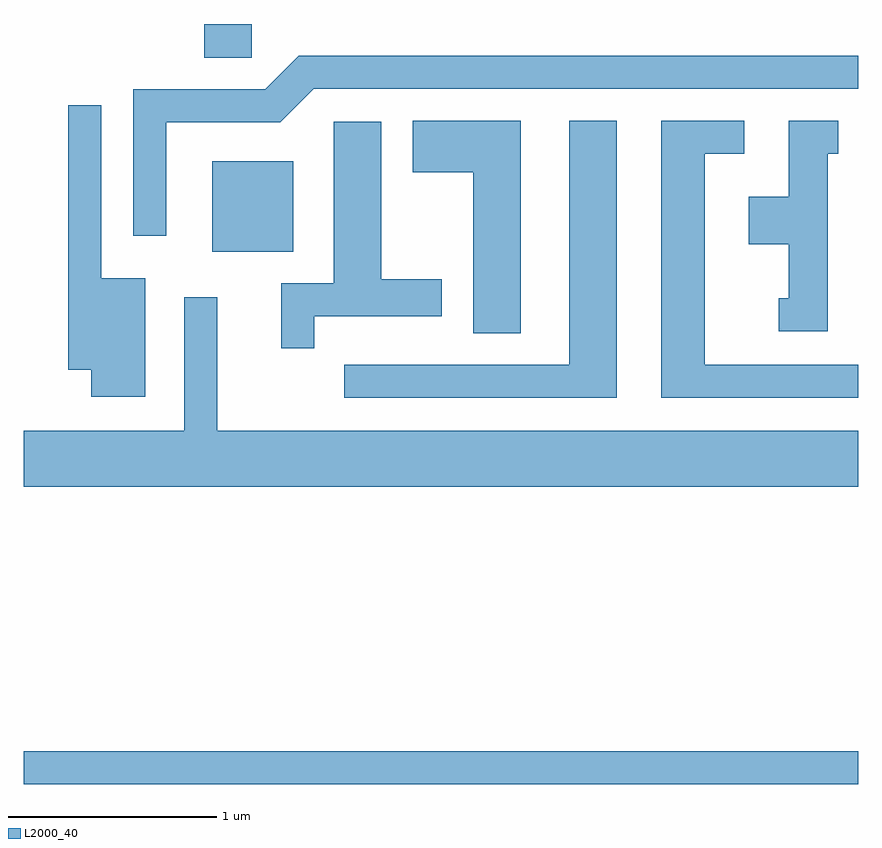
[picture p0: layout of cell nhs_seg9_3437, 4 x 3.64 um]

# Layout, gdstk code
import gdstk
lib = gdstk.Library(unit=1e-6, precision=1e-09)
def R(c, l, rs):  # rectangles x0, y0, x1, y1
    for r in rs: c.add(gdstk.rectangle(r[:2], r[2:], *l))
def P(c, l, *ps):  # polygons
    for p in ps: c.add(gdstk.Polygon(p, *l))
L2000_40 = (2000, 40)

nhs_seg9_3437 = lib.new_cell('nhs_seg9_3437')
R(nhs_seg9_3437, L2000_40, [(285.611,2034.791,289.611,2034.949), (286.516,2037.341,286.904,2037.774), (286.476,2038.271,286.704,2038.432)])
P(nhs_seg9_3437, L2000_40, [(286.294,2037.961),(286.842,2037.961),(287.002,2038.121),(289.611,2038.121),(289.611,2038.279),(286.929,2038.279),(286.769,2038.119),(286.136,2038.119),(286.136,2037.418),(286.294,2037.418)],
  [(286.194,2037.214),(285.984,2037.214),(285.984,2038.043),(285.826,2038.043),(285.826,2036.776),(285.936,2036.776),(285.936,2036.646),(286.194,2036.646)],
  [(287.994,2037.969),(287.476,2037.969),(287.476,2037.721),(287.766,2037.721),(287.766,2036.951),(287.994,2036.951)],
  [(289.611,2036.799),(288.874,2036.799),(288.874,2037.811),(289.063,2037.811),(289.063,2037.969),(288.666,2037.969),(288.666,2036.641),(289.611,2036.641)],
  [(289.464,2037.811),(289.513,2037.811),(289.513,2037.969),(289.276,2037.969),(289.276,2037.604),(289.086,2037.604),(289.086,2037.376),(289.276,2037.376),(289.276,2037.119),(289.228,2037.119),(289.228,2036.961),(289.464,2036.961)],
  [(288.454,2037.969),(288.226,2037.969),(288.226,2036.799),(287.148,2036.799),(287.148,2036.641),(288.454,2036.641)],
  [(287.004,2037.031),(287.614,2037.031),(287.614,2037.209),(287.324,2037.209),(287.324,2037.964),(287.096,2037.964),(287.096,2037.189),(286.846,2037.189),(286.846,2036.878),(287.004,2036.878)],
  [(289.611,2036.484),(286.539,2036.484),(286.539,2037.123),(286.381,2037.123),(286.381,2036.484),(285.611,2036.484),(285.611,2036.216),(289.611,2036.216)])

lib.write_gds('nhs_seg9_3437.gds')
